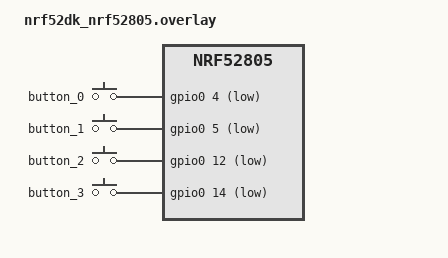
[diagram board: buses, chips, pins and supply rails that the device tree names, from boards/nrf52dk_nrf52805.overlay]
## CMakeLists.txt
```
cmake_minimum_required(VERSION 3.20.0)
find_package(Zephyr REQUIRED HINTS $ENV{ZEPHYR_BASE})
project(foxfobz_fob)
target_sources(app PRIVATE src/main.c)

set(FOXFOBZ_APP fob)
include(../common/foxfobz.cmake)
```

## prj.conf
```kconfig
CONFIG_BT=y
CONFIG_BT_BROADCASTER=y
CONFIG_BT_DEVICE_NAME="FoxFobz Fob"
CONFIG_GPIO=y

# Console over RTT (via the nRF DK's J-Link) since uart0 is disabled in the overlay
CONFIG_SERIAL=n
CONFIG_UART_CONSOLE=n
CONFIG_CONSOLE=y
CONFIG_USE_SEGGER_RTT=y
CONFIG_RTT_CONSOLE=y
```

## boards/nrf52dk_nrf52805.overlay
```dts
/* MDBT42T-DB (nRF52805) fob. We build against the nrf52dk/nrf52805 board
 * target since Zephyr has no MDBT42T board; this overlay re-maps it to the
 * module's actual pins (see docs/MDBT42T-DB.pdf, section 2.5).
 *
 * Usable button pins on the module: P0.04, P0.05, P0.12, P0.14, P0.16,
 * P0.18, P0.20. Avoid P0.21 (nRESET) and P0.00/P0.01 (32.768kHz crystal).
 *
 * Buttons are wired pin -> button -> GND and use the internal pull-up.
 */

/ {
	buttons {
		/* Unlock */
		button_0 {
			gpios = <&gpio0 4 (GPIO_PULL_UP | GPIO_ACTIVE_LOW)>;
		};
		/* Lock */
		button_1 {
			gpios = <&gpio0 5 (GPIO_PULL_UP | GPIO_ACTIVE_LOW)>;
		};
		/* Buttons 3/4 reserved for future commands; also add them to
		 * buttons[] in src/main.c when wiring them up. */
		button_2 {
			gpios = <&gpio0 12 (GPIO_PULL_UP | GPIO_ACTIVE_LOW)>;
		};
		button_3 {
			gpios = <&gpio0 14 (GPIO_PULL_UP | GPIO_ACTIVE_LOW)>;
		};
	};
};

/* The DK's UART pins (P0.05-P0.08) clash with our buttons and mostly don't
 * exist on the module. Console goes over RTT via the nRF DK's J-Link instead
 * (see prj.conf). SPI/I2C pins don't exist on the module either. */
&uart0 {
	status = "disabled";
};

&spi0 {
	status = "disabled";
};

&i2c0 {
	status = "disabled";
};
```

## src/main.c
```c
#include <errno.h>
#include <stdbool.h>
#include <zephyr/kernel.h>
#include <zephyr/drivers/gpio.h>
#include <zephyr/sys/byteorder.h>
#include <zephyr/bluetooth/bluetooth.h>

/* Packet layout and command bytes: firmware/common/include/foxfobz/protocol.h */
#include <foxfobz/protocol.h>
#include <app_version.h>

/* Each press is broadcast for ADV_BURST_MS at a 20-30ms interval, so the
 * receiver sees it many times; it de-dupes on the press counter. */
#define ADV_BURST_MS     500
#define ADV_INTERVAL_MIN 0x0020  /* 20ms (units of 0.625ms) */
#define ADV_INTERVAL_MAX 0x0030  /* 30ms */

#define DEBOUNCE_MS 20

/* Non-connectable, using the chip's fixed identity address so the receiver
 * can tell fobs apart. */
#define FOB_ADV_PARAM \
    BT_LE_ADV_PARAM(BT_LE_ADV_OPT_USE_IDENTITY, ADV_INTERVAL_MIN, ADV_INTERVAL_MAX, NULL)

static uint8_t mfg_data[FOB_MFG_LEN] = {
    FOB_COMPANY_ID & 0xFF, FOB_COMPANY_ID >> 8,
    FOB_MAGIC_0, FOB_MAGIC_1,
    FOB_PROTO_VERSION,
    0x00,       /* command, filled in per press */
    0x00, 0x00, /* press counter, filled in per press */
};

static const struct bt_data ad[] = {
    BT_DATA_BYTES(BT_DATA_FLAGS, BT_LE_AD_NO_BREDR),
    BT_DATA(BT_DATA_MANUFACTURER_DATA, mfg_data, sizeof(mfg_data)),
};

static uint16_t press_counter;
static bool advertising;
static struct k_work_delayable adv_stop_work;

struct fob_button {
    struct gpio_dt_spec spec;
    uint8_t cmd;
    struct gpio_callback cb;
    struct k_work_delayable debounce_work;
};

/* Pins come from boards/nrf52dk_nrf52805.overlay. To add buttons 3/4, add
 * entries for button2/button3 here with their command bytes. */
static struct fob_button buttons[] = {
    { .spec = GPIO_DT_SPEC_GET(DT_NODELABEL(button0), gpios), .cmd = CMD_UNLOCK },
    { .spec = GPIO_DT_SPEC_GET(DT_NODELABEL(button1), gpios), .cmd = CMD_LOCK },
};

static void adv_stop_fn(struct k_work *w)
{
    int err = bt_le_adv_stop();
    if (err) {
        printk("Advertising failed to stop (err %d)\n", err);
    }
    advertising = false;
}

/* Runs on the system workqueue (from debounce work), same as adv_stop_fn,
 * so no locking is needed around advertising state. */
static void send_command(uint8_t cmd)
{
    int err;

    press_counter++;
    mfg_data[FOB_MFG_CMD_IDX] = cmd;
    sys_put_le16(press_counter, &mfg_data[FOB_MFG_COUNTER_IDX]);

    /* A press during an ongoing burst just swaps in the new payload and
     * extends the burst. */
    if (advertising) {
        err = bt_le_adv_update_data(ad, ARRAY_SIZE(ad), NULL, 0);
    } else {
        err = bt_le_adv_start(FOB_ADV_PARAM, ad, ARRAY_SIZE(ad), NULL, 0);
    }
    if (err) {
        printk("Failed to broadcast command 0x%02x (err %d)\n", cmd, err);
        return;
    }

    advertising = true;
    k_work_reschedule(&adv_stop_work, K_MSEC(ADV_BURST_MS));
    printk("Sent command 0x%02x (press #%u)\n", cmd, press_counter);
}

static void debounce_fn(struct k_work *w)
{
    struct k_work_delayable *dwork = k_work_delayable_from_work(w);
    struct fob_button *b = CONTAINER_OF(dwork, struct fob_button, debounce_work);

    /* Only fire if still held once the contacts have settled; this also
     * filters out bounce on release. */
    if (gpio_pin_get_dt(&b->spec) == 1) {
        send_command(b->cmd);
    }
}

static void button_pressed(const struct device *dev, struct gpio_callback *cb, uint32_t pins)
{
    struct fob_button *b = CONTAINER_OF(cb, struct fob_button, cb);

    k_work_reschedule(&b->debounce_work, K_MSEC(DEBOUNCE_MS));
}

static int button_init(struct fob_button *b)
{
    int err;

    if (!gpio_is_ready_dt(&b->spec)) {
        return -ENODEV;
    }

    err = gpio_pin_configure_dt(&b->spec, GPIO_INPUT);
    if (err) {
        return err;
    }

    err = gpio_pin_interrupt_configure_dt(&b->spec, GPIO_INT_EDGE_TO_ACTIVE);
    if (err) {
        return err;
    }

    k_work_init_delayable(&b->debounce_work, debounce_fn);
    gpio_init_callback(&b->cb, button_pressed, BIT(b->spec.pin));
    return gpio_add_callback_dt(&b->spec, &b->cb);
}

int main(void)
{
    int err;

    printk("FoxFobz fob fw %s (build %s)\n", APP_VERSION_STRING, FOXFOBZ_FW_BUILD);

    k_work_init_delayable(&adv_stop_work, adv_stop_fn);

    err = bt_enable(NULL);
    if (err) {
        printk("Bluetooth init failed (err %d)\n", err);
        return err;
    }

    for (int i = 0; i < ARRAY_SIZE(buttons); i++) {
        err = button_init(&buttons[i]);
        if (err) {
            printk("Button %d init failed (err %d)\n", i, err);
            return err;
        }
    }

    printk("FoxFobz fob ready (%d buttons)\n", ARRAY_SIZE(buttons));
    return 0;
}
```
